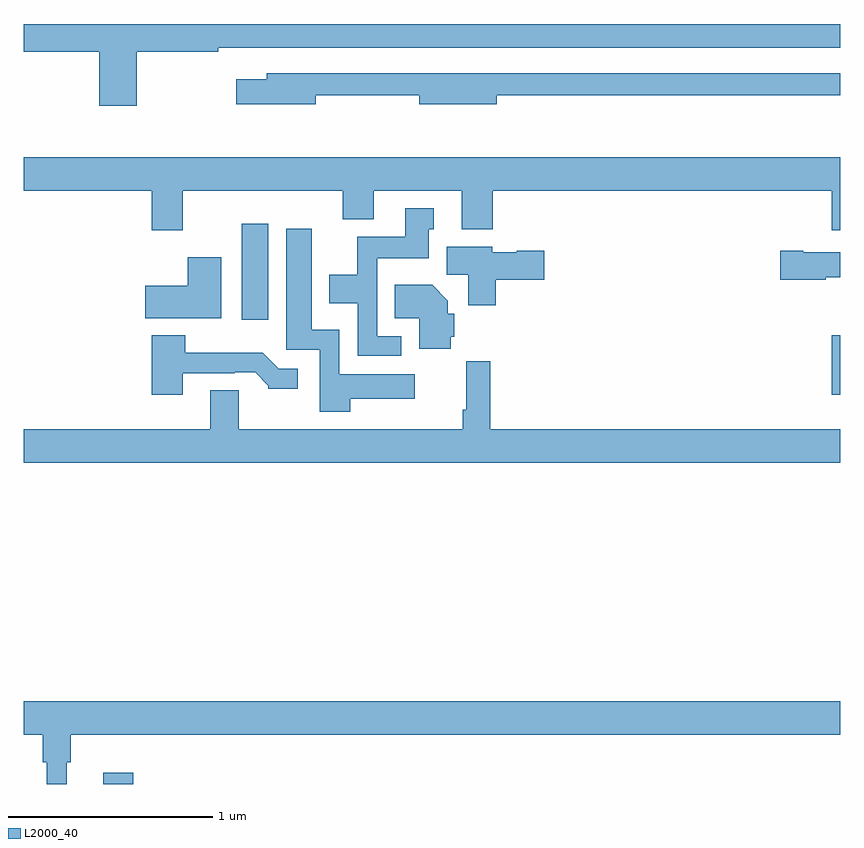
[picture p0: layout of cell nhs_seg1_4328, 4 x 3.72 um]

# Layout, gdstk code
import gdstk
lib = gdstk.Library(unit=1e-6, precision=1e-09)
def R(c, l, rs):  # rectangles x0, y0, x1, y1
    for r in rs: c.add(gdstk.rectangle(r[:2], r[2:], *l))
def P(c, l, *ps):  # polygons
    for p in ps: c.add(gdstk.Polygon(p, *l))
L2000_40 = (2000, 40)

nhs_seg1_4328 = lib.new_cell('nhs_seg1_4328')
R(nhs_seg1_4328, L2000_40, [(347.39,510.199,347.537,510.253), (350.957,512.106,351,512.395), (348.068,512.472,348.199,512.941)])
P(nhs_seg1_4328, L2000_40, [(347.555,513.784),(347.954,513.784),(347.954,513.804),(351,513.804),(351,513.92),(347,513.92),(347,513.784),(347.372,513.784),(347.372,513.519),(347.555,513.519)],
  [(348.43,513.57),(348.938,513.57),(348.938,513.527),(349.318,513.527),(349.318,513.57),(351,513.57),(351,513.678),(348.191,513.678),(348.191,513.649),(348.042,513.649),(348.042,513.527),(348.43,513.527)],
  [(347.779,513.104),(348.563,513.104),(348.563,512.963),(348.715,512.963),(348.715,513.104),(349.145,513.104),(349.145,512.915),(349.298,512.915),(349.298,513.104),(350.957,513.104),(350.957,512.91),(351,512.91),(351,513.268),(347,513.268),(347,513.104),(347.627,513.104),(347.627,512.91),(347.779,512.91)],
  [(348.85,512.391),(348.732,512.391),(348.732,512.774),(348.985,512.774),(348.985,512.916),(349.009,512.916),(349.009,513.019),(348.869,513.019),(348.869,512.878),(348.634,512.878),(348.634,512.692),(348.497,512.692),(348.497,512.552),(348.636,512.552),(348.636,512.295),(348.85,512.295)],
  [(348.599,512.084),(348.916,512.084),(348.916,512.206),(348.546,512.206),(348.546,512.422),(348.412,512.422),(348.412,512.917),(348.287,512.917),(348.287,512.325),(348.45,512.325),(348.45,512.022),(348.599,512.022)],
  [(349.313,512.669),(349.549,512.669),(349.549,512.811),(349.416,512.811),(349.416,512.803),(349.296,512.803),(349.296,512.83),(349.073,512.83),(349.073,512.692),(349.178,512.692),(349.178,512.544),(349.313,512.544)],
  [(350.928,512.681),(351,512.681),(351,512.803),(350.818,512.803),(350.818,512.811),(350.706,512.811),(350.706,512.669),(350.928,512.669)],
  [(347.968,512.779),(347.804,512.779),(347.804,512.638),(347.595,512.638),(347.595,512.48),(347.968,512.48)],
  [(349.091,512.388),(349.108,512.388),(349.108,512.502),(349.078,512.502),(349.078,512.566),(349,512.644),(348.817,512.644),(348.817,512.48),(348.938,512.48),(348.938,512.33),(349.091,512.33)],
  [(347.779,512.211),(348.035,512.211),(348.035,512.214),(348.134,512.214),(348.198,512.15),(348.198,512.135),(348.343,512.135),(348.343,512.232),(348.249,512.232),(348.171,512.311),(347.792,512.311),(347.792,512.395),(347.627,512.395),(347.627,512.106),(347.779,512.106)],
  [(347.915,512.126),(347.915,511.936),(347,511.936),(347,511.772),(351,511.772),(351,511.936),(349.286,511.936),(349.286,512.269),(349.168,512.269),(349.168,512.032),(349.15,512.032),(349.15,511.936),(348.055,511.936),(348.055,512.126)],
  [(347.212,510.306),(347.231,510.306),(347.231,510.44),(351,510.44),(351,510.604),(347,510.604),(347,510.44),(347.095,510.44),(347.095,510.306),(347.114,510.306),(347.114,510.199),(347.212,510.199)])

lib.write_gds('nhs_seg1_4328.gds')
